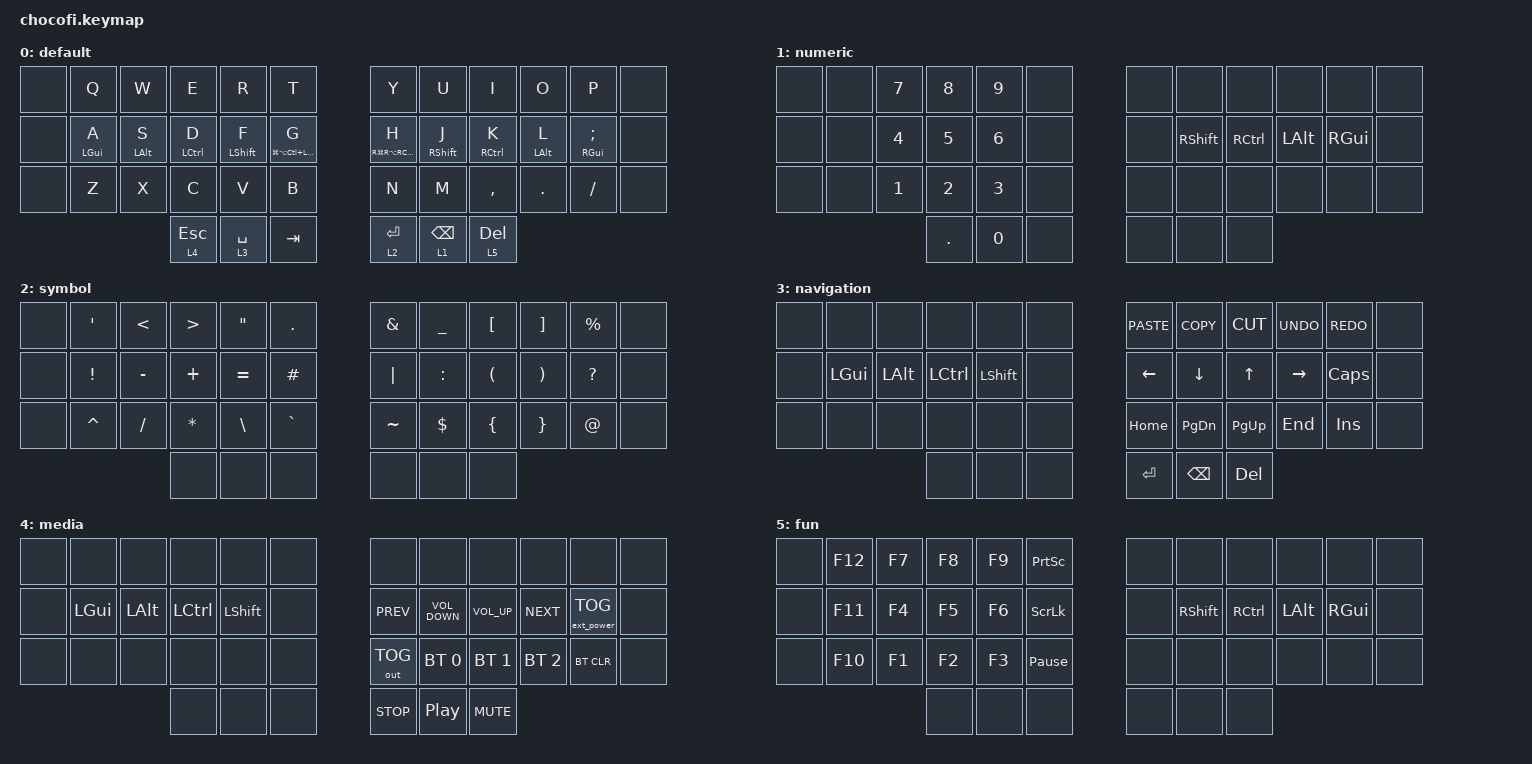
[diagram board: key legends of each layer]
/*
 * Copyright (c) 2020 The ZMK Contributors
 *
 * SPDX-License-Identifier: MIT
 */

#include <behaviors.dtsi>
#include <dt-bindings/zmk/bt.h>
#include <dt-bindings/zmk/ext_power.h>
#include <dt-bindings/zmk/keys.h>
#include <dt-bindings/zmk/outputs.h>

/ {
    combos {
        compatible = "zmk,combos";

        right_alt_right {
            bindings = <&kp RIGHT_ALT>;
            key-positions = <19 21>;
            timeout-ms = <100>;
            layers = <0>;
        };

        right_alt_left {
            bindings = <&kp RIGHT_ALT>;
            key-positions = <16 14>;
            timeout-ms = <100>;
            layers = <0>;
        };
    };

    behaviors {
        hm: homerow_mods {
            compatible = "zmk,behavior-hold-tap";
            label = "HOMEROW_MODS";
            bindings =
                <&kp>,
                <&kp>;

            #binding-cells = <2>;
            tapping-term-ms = <190>;
            quick-tap-ms = <0>;
            flavor = "tap-preferred";
        };
    };

    keymap {
        compatible = "zmk,keymap";

        default {
            // -----------------------------------------------------------------------------------------
            // |  TAB |  Q  |  W  |  E  |  R  |  T  |   |  Y  |  U   |  I  |  O  |  P  | BKSP |
            // | CTRL |  A  |  S  |  D  |  F  |  G  |   |  H  |  J   |  K  |  L  |  ;  |  '   |
            // | SHFT |  Z  |  X  |  C  |  V  |  B  |   |  N  |  M   |  ,  |  .  |  /  | ESC  |
            //                    | GUI | LWR | SPC |   | ENT | RSE  | ALT |

            bindings = <
&none           &kp Q           &kp W               &kp E             &kp R                         &kp T                            &kp Y              &kp U                &kp I           &kp O                    &kp P  &none
&none  &hm LEFT_GUI A  &hm LEFT_ALT S  &hm LEFT_CONTROL D  &hm LEFT_SHIFT F  &hm LG(LA(LC(LEFT_SHIFT))) G    &hm RG(RA(RC(RIGHT_SHIFT))) H  &hm RIGHT_SHIFT J  &hm RIGHT_CONTROL K  &hm LEFT_ALT L  &hm RIGHT_GUI SEMICOLON  &none
&none           &kp Z           &kp X               &kp C             &kp V                         &kp B                            &kp N              &kp M            &kp COMMA         &kp DOT                 &kp FSLH  &none
                                             &lt 4 ESCAPE       &lt 3 SPACE                       &kp TAB                      &lt 2 ENTER    &lt 1 BACKSPACE         &lt 5 DELETE
            >;
        };

        numeric {
            // -----------------------------------------------------------------------------------------
            // |  TAB |  1  |  2  |  3  |  4  |  5  |   |  6  |  7  |  8  |  9  |  0  | BKSP |
            // | BTCLR| BT1 | BT2 | BT3 | BT4 | BT5 |   | LFT | DWN |  UP | RGT |     |      |
            // | SHFT |     |     |     |     |     |   |     |     |     |     |     |      |
            //                    | GUI |     | SPC |   | ENT |     | ALT |

            bindings = <
&none  &none  &kp NUMBER_7  &kp NUMBER_8  &kp NUMBER_9  &none    &none            &none              &none         &none          &none  &none
&none  &none  &kp NUMBER_4  &kp NUMBER_5  &kp NUMBER_6  &none    &none  &kp RIGHT_SHIFT  &kp RIGHT_CONTROL  &kp LEFT_ALT  &kp RIGHT_GUI  &none
&none  &none  &kp NUMBER_1  &kp NUMBER_2  &kp NUMBER_3  &none    &none            &none              &none         &none          &none  &none
                                 &kp DOT  &kp NUMBER_0  &none    &none            &none              &none
            >;
        };

        symbol {
            // -----------------------------------------------------------------------------------------
            // |  TAB |  !  |  @  |  #  |  $  |  %  |   |  ^  |  &  |  *  |  (  |  )  | BKSP |
            // | CTRL |     |     |     |     |     |   |  -  |  =  |  [  |  ]  |  \  |  `   |
            // | SHFT |     |     |     |     |     |   |  _  |  +  |  {  |  }  | "|" |  ~   |
            //                    | GUI |     | SPC |   | ENT |     | ALT |

            bindings = <
&none  &kp SINGLE_QUOTE  &kp LESS_THAN  &kp GREATER_THAN  &kp DOUBLE_QUOTES    &kp DOT    &kp AMPERSAND  &kp UNDERSCORE      &kp LEFT_BRACKET      &kp RIGHT_BRACKET   &kp PERCENT  &none
&none   &kp EXCLAMATION      &kp MINUS          &kp PLUS          &kp EQUAL   &kp HASH         &kp PIPE       &kp COLON  &kp LEFT_PARENTHESIS  &kp RIGHT_PARENTHESIS  &kp QUESTION  &none
&none         &kp CARET      &kp SLASH      &kp ASTERISK      &kp BACKSLASH  &kp GRAVE        &kp TILDE      &kp DOLLAR              &kp LBRC               &kp RBRC   &kp AT_SIGN  &none
                                                   &none              &none      &none            &none           &none                 &none
            >;
        };

        navigation {
            bindings = <
&none         &none         &none             &none           &none  &none       &kp K_PASTE      &kp K_COPY     &kp K_CUT       &kp K_UNDO    &kp K_REDO  &none
&none  &kp LEFT_GUI  &kp LEFT_ALT  &kp LEFT_CONTROL  &kp LEFT_SHIFT  &none    &kp LEFT_ARROW  &kp DOWN_ARROW  &kp UP_ARROW  &kp RIGHT_ARROW  &kp CAPSLOCK  &none
&none         &none         &none             &none           &none  &none          &kp HOME   &kp PAGE_DOWN   &kp PAGE_UP          &kp END    &kp INSERT  &none
                                              &none           &none  &none         &kp ENTER   &kp BACKSPACE    &kp DELETE
            >;
        };

        media {
            bindings = <
&none         &none         &none             &none           &none  &none           &none              &none            &none         &none              &none  &none
&none  &kp LEFT_GUI  &kp LEFT_ALT  &kp LEFT_CONTROL  &kp LEFT_SHIFT  &none      &kp C_PREV  &kp C_VOLUME_DOWN  &kp C_VOLUME_UP    &kp C_NEXT  &ext_power EP_TOG  &none
&none         &none         &none             &none           &none  &none    &out OUT_TOG       &bt BT_SEL 0     &bt BT_SEL 1  &bt BT_SEL 2         &bt BT_CLR  &none
                                              &none           &none  &none      &kp C_STOP   &kp C_PLAY_PAUSE       &kp C_MUTE
            >;
        };

        fun {
            bindings = <
&none  &kp F12  &kp F7  &kp F8  &kp F9  &kp PRINTSCREEN    &none            &none              &none         &none          &none  &none
&none  &kp F11  &kp F4  &kp F5  &kp F6   &kp SCROLLLOCK    &none  &kp RIGHT_SHIFT  &kp RIGHT_CONTROL  &kp LEFT_ALT  &kp RIGHT_GUI  &none
&none  &kp F10  &kp F1  &kp F2  &kp F3  &kp PAUSE_BREAK    &none            &none              &none         &none          &none  &none
                         &none   &none            &none    &none            &none              &none
            >;
        };
    };
};

